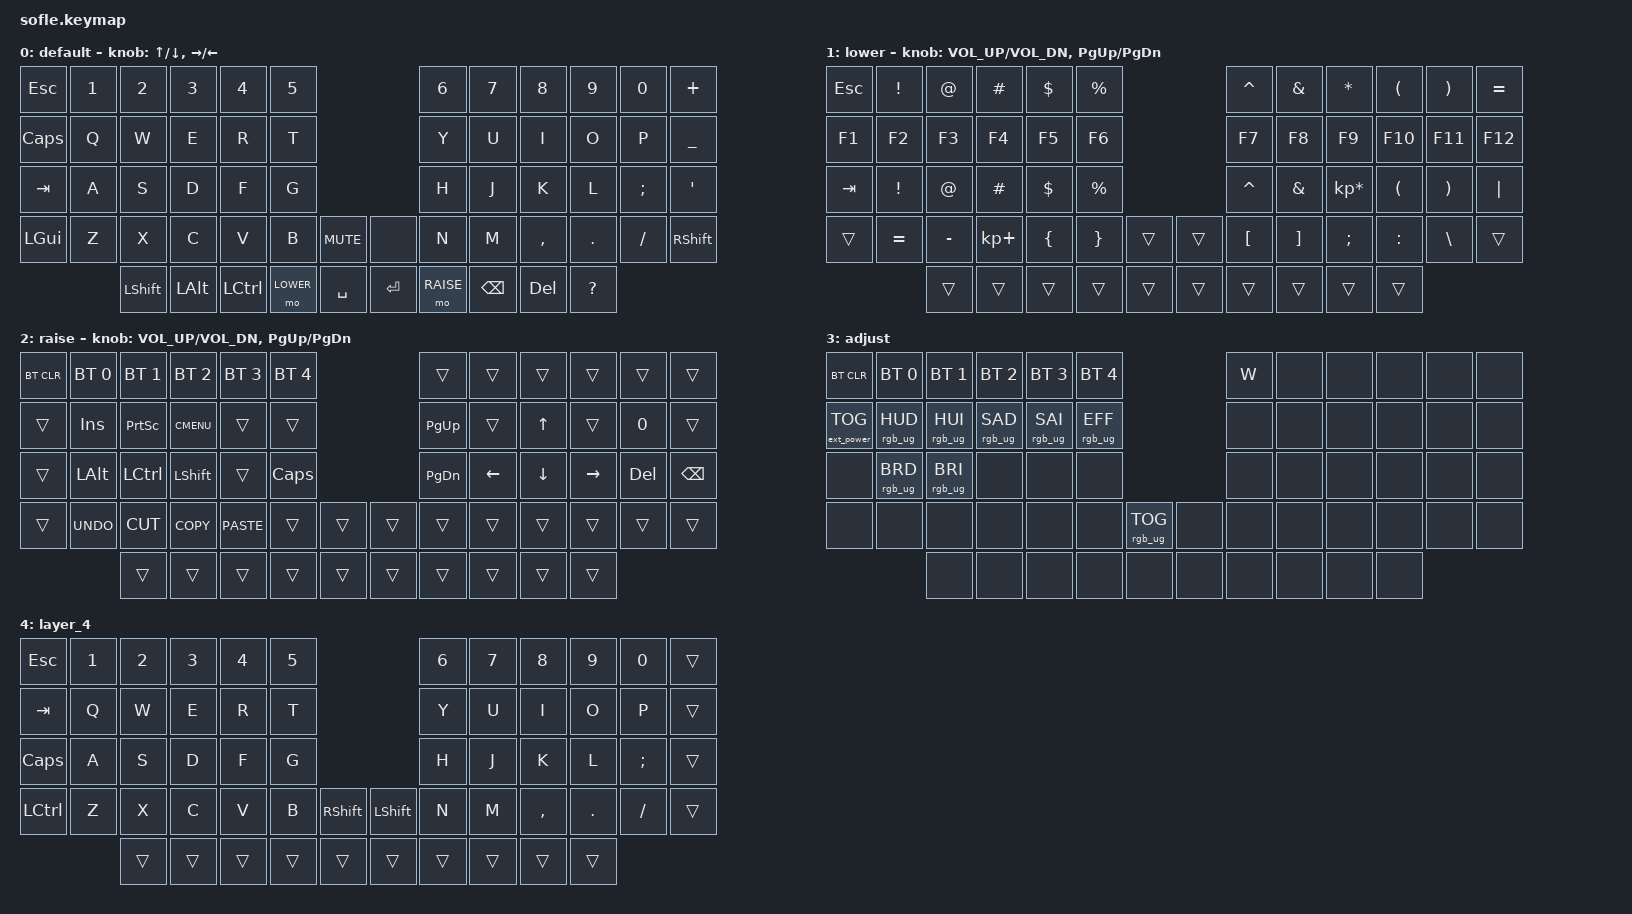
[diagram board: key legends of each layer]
/*
 * Copyright (c) 2020 The ZMK Contributors
 *
 * SPDX-License-Identifier: MIT
 */

#include <behaviors.dtsi>
#include <dt-bindings/zmk/bt.h>
#include <dt-bindings/zmk/ext_power.h>
#include <dt-bindings/zmk/keys.h>
#include <dt-bindings/zmk/rgb.h>

#define BASE 0
#define LOWER 1
#define RAISE 2
#define ADJUST 3

/ {
    // Activate ADJUST layer by pressing raise and lower

    conditional_layers {
        compatible = "zmk,conditional-layers";

        adjust_layer {
            if-layers = <LOWER RAISE>;
            then-layer = <ADJUST>;
        };
    };

    keymap {
        compatible = "zmk,keymap";

        default_layer {
            label = "default";

            // ------------------------------------------------------------------------------------------------------------
            // |   `   |  1  |  2  |  3   |  4   |  5   |                   |  6   |  7    |  8    |  9   |   0   |       |
            // |  ESC  |  Q  |  W  |  E   |  R   |  T   |                   |  Y   |  U    |  I    |  O   |   P   | BKSPC |
            // |  TAB  |  A  |  S  |  D   |  F   |  G   |                   |  H   |  J    |  K    |  L   |   ;   |   '   |
            // | SHIFT |  Z  |  X  |  C   |  V   |  B   |  MUTE  |  |       |  N   |  M    |  ,    |  .   |   /   | SHIFT |
            //               | GUI | ALT  | CTRL | LOWER|  ENTER |  | SPACE | RAISE| CTRL  | ALT   | GUI  |

            bindings = <
&kp ESC       &kp N1  &kp N2          &kp N3    &kp N4     &kp N5                              &kp N6     &kp N7         &kp N8      &kp N9        &kp N0    &kp PLUS
&kp CAPSLOCK  &kp Q   &kp W           &kp E     &kp R      &kp T                               &kp Y      &kp U          &kp I       &kp O         &kp P     &kp UNDERSCORE
&kp TAB       &kp A   &kp S           &kp D     &kp F      &kp G                               &kp H      &kp J          &kp K       &kp L         &kp SEMI  &kp SQT
&kp LEFT_GUI  &kp Z   &kp X           &kp C     &kp V      &kp B      &kp C_MUTE    &none      &kp N      &kp M          &kp COMMA   &kp DOT       &kp FSLH  &kp RSHFT
                      &kp LEFT_SHIFT  &kp LALT  &kp LCTRL  &mo LOWER  &kp SPACE     &kp ENTER  &mo RAISE  &kp BACKSPACE  &kp DELETE  &kp QUESTION
            >;

            sensor-bindings =
                <&inc_dec_kp UP_ARROW DOWN_ARROW>,
                <&inc_dec_kp RIGHT_ARROW LEFT_ARROW>;
        };

        lower_layer {
            label = "lower";

            // TODO: Some binds are waiting for shifted keycode support.
            // ------------------------------------------------------------------------------------------------------------
            // |       |  F1 |  F2 |  F3  |  F4  |  F5  |                   |  F6  |  F7   |  F8   |  F9  |  F10  |  F11  |
            // |   `   |  1  |  2  |  3   |  4   |  5   |                   |  6   |  7    |  8    |  9   |   0   |  F12  |
            // |       |  !  |  @  |  #   |  $   |  %   |                   |  ^   |  &    |  *    |  (   |   )   |   |   |
            // |       |  =  |  -  |  +   |  {   |  }   |        |  |       |  [   |  ]    |  ;    |  :   |   \   |       |
            //               |     |      |      |      |        |  |       |      |       |       |      |

            bindings = <
&kp ESC  &kp EXCLAMATION  &kp AT_SIGN  &kp HASH     &kp DOLLAR  &kp PERCENT                    &kp CARET  &kp AMPERSAND  &kp ASTERISK     &kp LEFT_PARENTHESIS  &kp RIGHT_PARENTHESIS  &kp EQUAL
&kp F1   &kp F2           &kp F3       &kp F4       &kp F5      &kp F6                         &kp F7     &kp F8         &kp F9           &kp F10               &kp F11                &kp F12
&kp TAB  &kp EXCL         &kp AT       &kp HASH     &kp DLLR    &kp PRCNT                      &kp CARET  &kp AMPS       &kp KP_MULTIPLY  &kp LPAR              &kp RPAR               &kp PIPE
&trans   &kp EQUAL        &kp MINUS    &kp KP_PLUS  &kp LBRC    &kp RBRC     &trans    &trans  &kp LBKT   &kp RBKT       &kp SEMI         &kp COLON             &kp BSLH               &trans
                          &trans       &trans       &trans      &trans       &trans    &trans  &trans     &trans         &trans           &trans
            >;

            sensor-bindings = <&inc_dec_kp C_VOL_UP C_VOL_DN &inc_dec_kp PG_UP PG_DN>;
        };

        raise_layer {
            label = "raise";

            // ------------------------------------------------------------------------------------------------------------
            // | BTCLR | BT1  | BT2  |  BT3  |  BT4  |  BT5 |                |      |      |       |      |       |       |
            // |       | INS  | PSCR | GUI   |       |      |                | PGUP |      |   ^   |      |       |       |
            // |       | ALT  | CTRL | SHIFT |       | CAPS |                | PGDN |   <- |   v   |  ->  |  DEL  | BKSPC |
            // |       | UNDO | CUT  | COPY  | PASTE |      |      |  |      |      |      |       |      |       |       |
            //                |      |       |       |      |      |  |      |      |      |       |      |

            bindings = <
&bt BT_CLR  &bt BT_SEL 0  &bt BT_SEL 1  &bt BT_SEL 2  &bt BT_SEL 3  &bt BT_SEL 4                    &trans     &trans    &trans    &trans     &trans   &trans
&trans      &kp INS       &kp PSCRN     &kp K_CMENU   &trans        &trans                          &kp PG_UP  &trans    &kp UP    &trans     &kp N0   &trans
&trans      &kp LALT      &kp LCTRL     &kp LSHFT     &trans        &kp CLCK                        &kp PG_DN  &kp LEFT  &kp DOWN  &kp RIGHT  &kp DEL  &kp BSPC
&trans      &kp K_UNDO    &kp K_CUT     &kp K_COPY    &kp K_PASTE   &trans        &trans    &trans  &trans     &trans    &trans    &trans     &trans   &trans
                          &trans        &trans        &trans        &trans        &trans    &trans  &trans     &trans    &trans    &trans
            >;

            sensor-bindings = <&inc_dec_kp C_VOL_UP C_VOL_DN &inc_dec_kp PG_UP PG_DN>;
        };

        adjust_layer {
            // ----------------------------------------------------------------------------------------------------------------------------
            // | BTCLR  |  BT1    |  BT2    |   BT3   |   BT4   |   BT5   |                  |      |      |       |      |       |       |
            // | EXTPWR | RGB_HUD | RGB_HUI | RGB_SAD | RGB_SAI | RGB_EFF |                  |      |      |       |      |       |       |
            // |        | RGB_BRD | RGB_BRI |         |         |         |                  |      |      |       |      |       |       |
            // |        |         |         |         |         |         | RGB_TOG | |      |      |      |       |      |       |       |
            //                    |         |         |         |         |         | |      |      |      |       |      |

            label = "adjust";
            bindings = <
&bt BT_CLR         &bt BT_SEL 0     &bt BT_SEL 1     &bt BT_SEL 2     &bt BT_SEL 3     &bt BT_SEL 4                               &kp W  &none  &none  &none  &none  &none
&ext_power EP_TOG  &rgb_ug RGB_HUD  &rgb_ug RGB_HUI  &rgb_ug RGB_SAD  &rgb_ug RGB_SAI  &rgb_ug RGB_EFF                            &none  &none  &none  &none  &none  &none
&none              &rgb_ug RGB_BRD  &rgb_ug RGB_BRI  &none            &none            &none                                      &none  &none  &none  &none  &none  &none
&none              &none            &none            &none            &none            &none            &rgb_ug RGB_TOG    &none  &none  &none  &none  &none  &none  &none
                                    &none            &none            &none            &none            &none              &none  &none  &none  &none  &none
            >;
        };

        layer_4 {
            bindings = <
&kp ESC    &kp N1  &kp N2  &kp N3  &kp N4  &kp N5                          &kp N6  &kp N7  &kp N8     &kp N9   &kp N0    &trans
&kp TAB    &kp Q   &kp W   &kp E   &kp R   &kp T                           &kp Y   &kp U   &kp I      &kp O    &kp P     &trans
&kp CAPS   &kp A   &kp S   &kp D   &kp F   &kp G                           &kp H   &kp J   &kp K      &kp L    &kp SEMI  &trans
&kp LCTRL  &kp Z   &kp X   &kp C   &kp V   &kp B   &kp RSHFT    &kp LSHFT  &kp N   &kp M   &kp COMMA  &kp DOT  &kp FSLH  &trans
                   &trans  &trans  &trans  &trans  &trans       &trans     &trans  &trans  &trans     &trans
            >;
        };
    };
};
